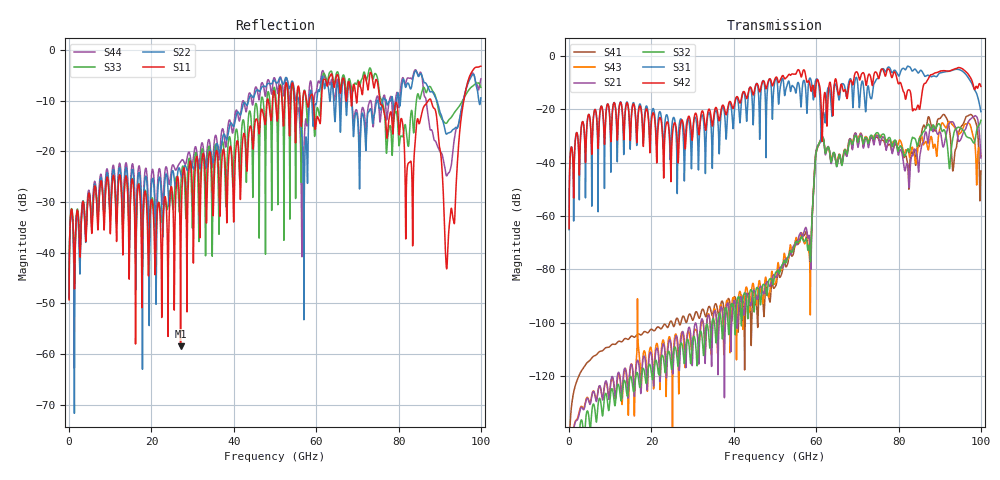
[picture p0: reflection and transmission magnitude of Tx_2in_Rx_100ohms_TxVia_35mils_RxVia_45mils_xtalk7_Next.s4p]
! Info: Touchstone file created by Circ.  Input file=Tx_2in_Rx_100ohms_TxVia_35mils_RxVia_45mils.circ
# Hz S RI R 50
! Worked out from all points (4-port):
!   10000 points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, 10 MHz to 100 GHz, reference 50 ohm
!   strongest paths, dB at 10 MHz, 25.01 GHz, 50.01 GHz, 75.01 GHz, 100 GHz:
!     S42: -64.7, -31.5, -8.6, -7.9, -11.5
!     S31: -65.1, -25.5, -9.2, -8.5, -20.9
!     S32: -179.5, -116.5, -81.8, -28.9, -24.1
!     S21: -175.0, -113.1, -82.6, -29.9, -38.3
!     S43: -174.7, -119.3, -85.4, -29.9, -37.8
!     S41: -161.9, -99.9, -86.6, -30.8, -43.1
!   lowest |S11| = -58.5 dB at 27.07 GHz (marker M1), VSWR 1.00, Z = 50 - j0.109 ohm
!   |S11| at or under -10 dB: start of sweep to 48.09 GHz; 75.48 GHz to 87.23 GHz (11.74 GHz wide, 14.4 % of centre); 87.9 GHz to 95.85 GHz (7.951 GHz wide, 8.65 % of centre) (the widest 3 of 14)
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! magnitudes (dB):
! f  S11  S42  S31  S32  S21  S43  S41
! 10 MHz  -49.3  -64.7  -65.1  -179.5  -175.0  -174.7  -161.9
! 27.07 GHz  -58.5  -25.5  -23.6  -108.0  -108.3  -105.8  -100.4
! 58.33 GHz  -10.2  -9.8  -8.7  -71.0  -67.4  -74.5  -68.9
! 60.89 GHz  -14.4  -11.6  -15.4  -32.3  -32.5  -32.1  -32.4
! 73.3 GHz  -4.5  -8.4  -16.0  -29.8  -30.6  -30.2  -30.8
! 91.71 GHz  -43.1  -5.7  -5.9  -32.0  -28.6  -26.6  -23.5
! 100 GHz  -3.2  -11.5  -20.9  -24.1  -38.3  -37.8  -43.1
